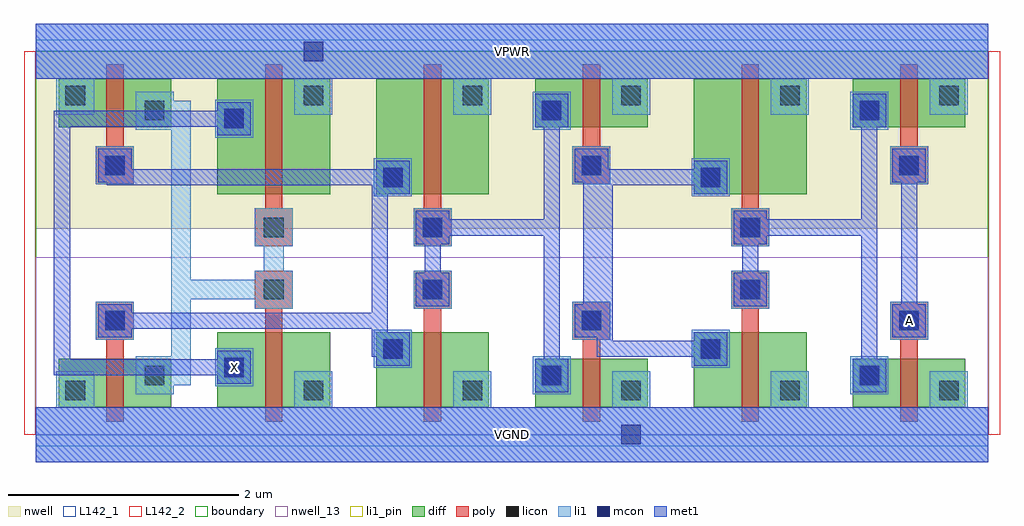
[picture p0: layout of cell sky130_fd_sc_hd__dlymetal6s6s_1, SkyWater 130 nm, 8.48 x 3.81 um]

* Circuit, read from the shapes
.subckt sky130_fd_sc_hd__dlymetal6s6s_1 A VGND VPWR X
XM1 n1 n2 VGND VSUBS sky130_fd_pr__nfet_01v8 w=0.42 l=0.15
XM2 VGND n1 X VSUBS sky130_fd_pr__nfet_01v8 w=0.65 l=0.15
XM3 VGND n3 n2 VSUBS sky130_fd_pr__nfet_01v8 w=0.65 l=0.15
XM4 VGND n4 n3 VSUBS sky130_fd_pr__nfet_01v8 w=0.42 l=0.15
XM5 VGND n5 n4 VSUBS sky130_fd_pr__nfet_01v8 w=0.65 l=0.15
XM6 VGND A n5 VSUBS sky130_fd_pr__nfet_01v8 w=0.42 l=0.15
XM7 n1 n2 VPWR n6 sky130_fd_pr__pfet_01v8 w=0.42 l=0.15
XM8 VPWR n1 X n6 sky130_fd_pr__pfet_01v8 w=1 l=0.15
XM9 VPWR n3 n2 n6 sky130_fd_pr__pfet_01v8 w=1 l=0.15
XM10 VPWR n4 n3 n6 sky130_fd_pr__pfet_01v8 w=0.42 l=0.15
XM11 VPWR n5 n4 n6 sky130_fd_pr__pfet_01v8 w=1 l=0.15
XM12 VPWR A n5 n6 sky130_fd_pr__pfet_01v8 w=0.42 l=0.15
.ends

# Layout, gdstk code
import gdstk
lib = gdstk.Library(unit=1e-6, precision=1e-09)
def R(c, l, rs):  # rectangles x0, y0, x1, y1
    for r in rs: c.add(gdstk.rectangle(r[:2], r[2:], *l))
def A(c, l, x, y, w, h, nx, ny, dx, dy):  # array of equal rectangles
    R(c, l, [(x+i*dx, y+j*dy, x+i*dx+w, y+j*dy+h) for i in range(nx) for j in range(ny)])
def P(c, l, *ps):  # polygons
    for p in ps: c.add(gdstk.Polygon(p, *l))
nwell_13 = (64, 13)
nwell = (64, 20)
diff = (65, 20)
poly = (66, 20)
licon = (66, 44)
li1_pin = (67, 16)
li1 = (67, 20)
mcon = (67, 44)
met1 = (68, 20)
L142_1 = (142, 1)
L142_2 = (142, 2)
boundary = (235, 4)

sky130_fd_sc_hd__dlymeta = lib.new_cell('sky130_fd_sc_hd__dlymetal6s6s_1')
R(sky130_fd_sc_hd__dlymeta, nwell_13, [(0,0,8.28,1.54)])
R(sky130_fd_sc_hd__dlymeta, nwell, [(0,1.79,8.28,3.33)])
R(sky130_fd_sc_hd__dlymeta, diff, [(0.2,0.24,1.18,0.66), (0.2,0.24,0.615,0.66), (0.615,0.24,1.18,0.66), (1.58,0.24,2.56,0.89), (1.58,0.24,1.995,0.89), (1.995,0.24,2.56,0.89), (2.96,0.24,3.94,0.89), (2.96,0.24,3.375,0.89), (3.375,0.24,3.94,0.89), (4.34,0.24,5.32,0.66), (4.34,0.24,4.755,0.66), (4.755,0.24,5.32,0.66), (5.72,0.24,6.7,0.89), (5.72,0.24,6.135,0.89), (6.135,0.24,6.7,0.89), (7.1,0.24,8.08,0.66), (7.1,0.24,7.515,0.66), (7.515,0.24,8.08,0.66), (1.58,2.09,2.56,3.09), (1.58,2.09,1.995,3.09), (1.995,2.09,2.56,3.09), (2.96,2.09,3.94,3.09), (2.96,2.09,3.375,3.09), (3.375,2.09,3.94,3.09), (5.72,2.09,6.7,3.09), (5.72,2.09,6.135,3.09), (6.135,2.09,6.7,3.09), (0.2,2.67,1.18,3.09), (0.2,2.67,0.615,3.09), (0.615,2.67,1.18,3.09), (4.34,2.67,5.32,3.09), (4.34,2.67,4.755,3.09), (4.755,2.67,5.32,3.09), (7.1,2.67,8.08,3.09), (7.1,2.67,7.515,3.09), (7.515,2.67,8.08,3.09)])
P(sky130_fd_sc_hd__dlymeta, poly, [(4.755,0.11),(4.755,0.825),(4.665,0.825),(4.665,1.155),(4.995,1.155),(4.995,0.825),(4.905,0.825),(4.905,0.11)],
  [(4.665,2.175),(4.665,2.505),(4.755,2.505),(4.755,3.22),(4.905,3.22),(4.905,2.505),(4.995,2.505),(4.995,2.175)],
  [(6.135,0.11),(6.135,1.095),(6.045,1.095),(6.045,1.425),(6.375,1.425),(6.375,1.095),(6.285,1.095),(6.285,0.11)],
  [(6.045,1.635),(6.045,1.965),(6.135,1.965),(6.135,3.22),(6.285,3.22),(6.285,1.965),(6.375,1.965),(6.375,1.635)],
  [(3.375,0.11),(3.375,1.095),(3.285,1.095),(3.285,1.425),(3.615,1.425),(3.615,1.095),(3.525,1.095),(3.525,0.11)],
  [(3.285,1.635),(3.285,1.965),(3.375,1.965),(3.375,3.22),(3.525,3.22),(3.525,1.965),(3.615,1.965),(3.615,1.635)],
  [(0.615,0.11),(0.615,0.825),(0.525,0.825),(0.525,1.155),(0.855,1.155),(0.855,0.825),(0.765,0.825),(0.765,0.11)],
  [(0.525,2.175),(0.525,2.505),(0.615,2.505),(0.615,3.22),(0.765,3.22),(0.765,2.505),(0.855,2.505),(0.855,2.175)],
  [(7.515,0.11),(7.515,0.825),(7.425,0.825),(7.425,1.155),(7.755,1.155),(7.755,0.825),(7.665,0.825),(7.665,0.11)],
  [(7.425,2.175),(7.425,2.505),(7.515,2.505),(7.515,3.22),(7.665,3.22),(7.665,2.505),(7.755,2.505),(7.755,2.175)],
  [(1.995,0.11),(1.995,1.095),(1.905,1.095),(1.905,1.425),(2.235,1.425),(2.235,1.095),(2.145,1.095),(2.145,0.11)],
  [(1.905,1.635),(1.905,1.965),(1.995,1.965),(1.995,3.22),(2.145,3.22),(2.145,1.965),(2.235,1.965),(2.235,1.635)])
A(sky130_fd_sc_hd__dlymeta, licon, 2.33, 0.3, 0.17, 0.17, 5, 2, 1.38, 2.56)
R(sky130_fd_sc_hd__dlymeta, licon, [(0.26,0.3,0.43,0.47), (0.95,0.43,1.12,0.6), (4.4,0.43,4.57,0.6), (7.16,0.43,7.33,0.6), (1.64,0.5,1.81,0.67), (3.02,0.66,3.19,0.83), (5.78,0.66,5.95,0.83), (0.605,0.905,0.775,1.075), (4.745,0.905,4.915,1.075), (7.505,0.905,7.675,1.075), (1.985,1.175,2.155,1.345), (3.365,1.175,3.535,1.345), (6.125,1.175,6.295,1.345), (1.985,1.715,2.155,1.885), (3.365,1.715,3.535,1.885), (6.125,1.715,6.295,1.885), (3.02,2.15,3.19,2.32), (5.78,2.15,5.95,2.32), (0.605,2.255,0.775,2.425), (4.745,2.255,4.915,2.425), (7.505,2.255,7.675,2.425), (1.64,2.66,1.81,2.83), (0.95,2.73,1.12,2.9), (4.4,2.73,4.57,2.9), (7.16,2.73,7.33,2.9), (0.26,2.86,0.43,3.03)])
R(sky130_fd_sc_hd__dlymeta, li1_pin, [(0,-0.24,8.28,0.24), (1.56,0.42,1.89,0.75), (7.425,0.825,7.755,1.155), (0,3.09,8.28,3.57)])
R(sky130_fd_sc_hd__dlymeta, li1, [(4.32,0.35,4.65,0.68), (7.08,0.35,7.41,0.68), (1.56,0.42,1.89,0.75), (2.94,0.58,3.27,0.91), (5.7,0.58,6.03,0.91), (0.525,0.825,0.855,1.155), (4.665,0.825,4.995,1.155), (7.425,0.825,7.755,1.155), (3.285,1.095,3.615,1.425), (6.045,1.095,6.375,1.425), (3.285,1.635,3.615,1.965), (6.045,1.635,6.375,1.965), (2.94,2.07,3.27,2.4), (5.7,2.07,6.03,2.4), (0.525,2.175,0.855,2.505), (4.665,2.175,4.995,2.505), (7.425,2.175,7.755,2.505), (1.56,2.58,1.89,2.91), (4.32,2.65,4.65,2.98), (7.08,2.65,7.41,2.98)])
P(sky130_fd_sc_hd__dlymeta, li1, [(0.18,2.78),(0.18,3.09),(0,3.09),(0,3.57),(8.28,3.57),(8.28,3.09),(8.1,3.09),(8.1,2.78),(7.77,2.78),(7.77,3.09),(6.72,3.09),(6.72,2.78),(6.39,2.78),(6.39,3.09),(5.34,3.09),(5.34,2.78),(5.01,2.78),(5.01,3.09),(3.96,3.09),(3.96,2.78),(3.63,2.78),(3.63,3.09),(2.58,3.09),(2.58,2.78),(2.25,2.78),(2.25,3.09),(0.51,3.09),(0.51,2.78)],
  [(0,-0.24),(0,0.24),(0.18,0.24),(0.18,0.55),(0.51,0.55),(0.51,0.24),(2.25,0.24),(2.25,0.55),(2.58,0.55),(2.58,0.24),(3.63,0.24),(3.63,0.55),(3.96,0.55),(3.96,0.24),(5.01,0.24),(5.01,0.55),(5.34,0.55),(5.34,0.24),(6.39,0.24),(6.39,0.55),(6.72,0.55),(6.72,0.24),(7.77,0.24),(7.77,0.55),(8.1,0.55),(8.1,0.24),(8.28,0.24),(8.28,-0.24)],
  [(0.87,0.35),(0.87,0.68),(1.18,0.68),(1.18,2.65),(0.87,2.65),(0.87,2.98),(1.2,2.98),(1.2,2.9),(1.35,2.9),(1.35,1.345),(1.905,1.345),(1.905,1.425),(1.985,1.425),(1.985,1.635),(1.905,1.635),(1.905,1.965),(2.235,1.965),(2.235,1.635),(2.155,1.635),(2.155,1.425),(2.235,1.425),(2.235,1.095),(1.905,1.095),(1.905,1.175),(1.35,1.175),(1.35,0.43),(1.2,0.43),(1.2,0.35)])
R(sky130_fd_sc_hd__dlymeta, mcon, [(5.09,-0.085,5.26,0.085), (4.4,0.43,4.57,0.6), (7.16,0.43,7.33,0.6), (1.64,0.5,1.81,0.67), (3.02,0.66,3.19,0.83), (5.78,0.66,5.95,0.83), (0.605,0.905,0.775,1.075), (4.745,0.905,4.915,1.075), (7.505,0.905,7.675,1.075), (3.365,1.175,3.535,1.345), (6.125,1.175,6.295,1.345), (3.365,1.715,3.535,1.885), (6.125,1.715,6.295,1.885), (3.02,2.15,3.19,2.32), (5.78,2.15,5.95,2.32), (0.605,2.255,0.775,2.425), (4.745,2.255,4.915,2.425), (7.505,2.255,7.675,2.425), (1.64,2.66,1.81,2.83), (4.4,2.73,4.57,2.9), (7.16,2.73,7.33,2.9), (2.33,3.245,2.5,3.415)])
R(sky130_fd_sc_hd__dlymeta, met1, [(0,-0.24,8.28,0.24), (0,3.09,8.28,3.57)])
P(sky130_fd_sc_hd__dlymeta, met1, [(5.72,0.6),(5.72,0.675),(4.875,0.675),(4.875,0.845),(4.685,0.845),(4.685,1.135),(4.76,1.135),(4.76,2.195),(4.685,2.195),(4.685,2.485),(4.975,2.485),(4.975,2.305),(5.72,2.305),(5.72,2.38),(6.01,2.38),(6.01,2.09),(5.72,2.09),(5.72,2.165),(5.015,2.165),(5.015,0.815),(5.72,0.815),(5.72,0.89),(6.01,0.89),(6.01,0.6)],
  [(7.1,0.37),(7.1,0.66),(7.175,0.66),(7.175,1.73),(6.355,1.73),(6.355,1.655),(6.28,1.655),(6.28,1.405),(6.355,1.405),(6.355,1.115),(6.065,1.115),(6.065,1.405),(6.14,1.405),(6.14,1.655),(6.065,1.655),(6.065,1.945),(6.355,1.945),(6.355,1.87),(7.175,1.87),(7.175,2.67),(7.1,2.67),(7.1,2.96),(7.39,2.96),(7.39,2.67),(7.315,2.67),(7.315,0.66),(7.39,0.66),(7.39,0.37)],
  [(4.34,0.37),(4.34,0.66),(4.415,0.66),(4.415,1.73),(3.595,1.73),(3.595,1.655),(3.52,1.655),(3.52,1.405),(3.595,1.405),(3.595,1.115),(3.305,1.115),(3.305,1.405),(3.38,1.405),(3.38,1.655),(3.305,1.655),(3.305,1.945),(3.595,1.945),(3.595,1.87),(4.415,1.87),(4.415,2.67),(4.34,2.67),(4.34,2.96),(4.63,2.96),(4.63,2.67),(4.555,2.67),(4.555,0.66),(4.63,0.66),(4.63,0.37)],
  [(2.96,0.6),(2.96,0.675),(2.92,0.675),(2.92,0.92),(0.835,0.92),(0.835,0.845),(0.545,0.845),(0.545,1.135),(0.835,1.135),(0.835,1.06),(2.92,1.06),(2.92,2.165),(0.62,2.165),(0.62,2.195),(0.545,2.195),(0.545,2.485),(0.835,2.485),(0.835,2.305),(2.96,2.305),(2.96,2.38),(3.25,2.38),(3.25,2.09),(3.06,2.09),(3.06,0.89),(3.25,0.89),(3.25,0.6)],
  [(7.445,0.845),(7.445,1.135),(7.52,1.135),(7.52,2.195),(7.445,2.195),(7.445,2.485),(7.735,2.485),(7.735,2.195),(7.66,2.195),(7.66,1.135),(7.735,1.135),(7.735,0.845)],
  [(1.58,0.44),(1.58,0.515),(0.16,0.515),(0.16,2.815),(1.58,2.815),(1.58,2.89),(1.87,2.89),(1.87,2.6),(1.58,2.6),(1.58,2.675),(0.3,2.675),(0.3,0.655),(1.58,0.655),(1.58,0.73),(1.87,0.73),(1.87,0.44)])
R(sky130_fd_sc_hd__dlymeta, L142_1, [(0,-0.1,8.28,0), (0,3.33,8.28,3.43)])
R(sky130_fd_sc_hd__dlymeta, L142_2, [(-0.1,0,0,3.33), (8.28,0,8.38,3.33)])
R(sky130_fd_sc_hd__dlymeta, boundary, [(0,0,8.28,3.33)])
sky130_fd_sc_hd__dlymeta.add(gdstk.Label('X', (1.725,0.585), layer=67, texttype=5))
sky130_fd_sc_hd__dlymeta.add(gdstk.Label('A', (7.59,0.99), layer=67, texttype=5))
sky130_fd_sc_hd__dlymeta.add(gdstk.Label('VGND', (4.14,0), layer=67, texttype=5))
sky130_fd_sc_hd__dlymeta.add(gdstk.Label('VPWR', (4.14,3.33), layer=67, texttype=5))
sky130_fd_sc_hd__dlymeta.add(gdstk.Label('VGND', (4.14,0), layer=68, texttype=5))
sky130_fd_sc_hd__dlymeta.add(gdstk.Label('VPWR', (4.14,3.33), layer=68, texttype=5))

lib.write_gds('sky130_fd_sc_hd__dlymetal6s6s_1.gds')
